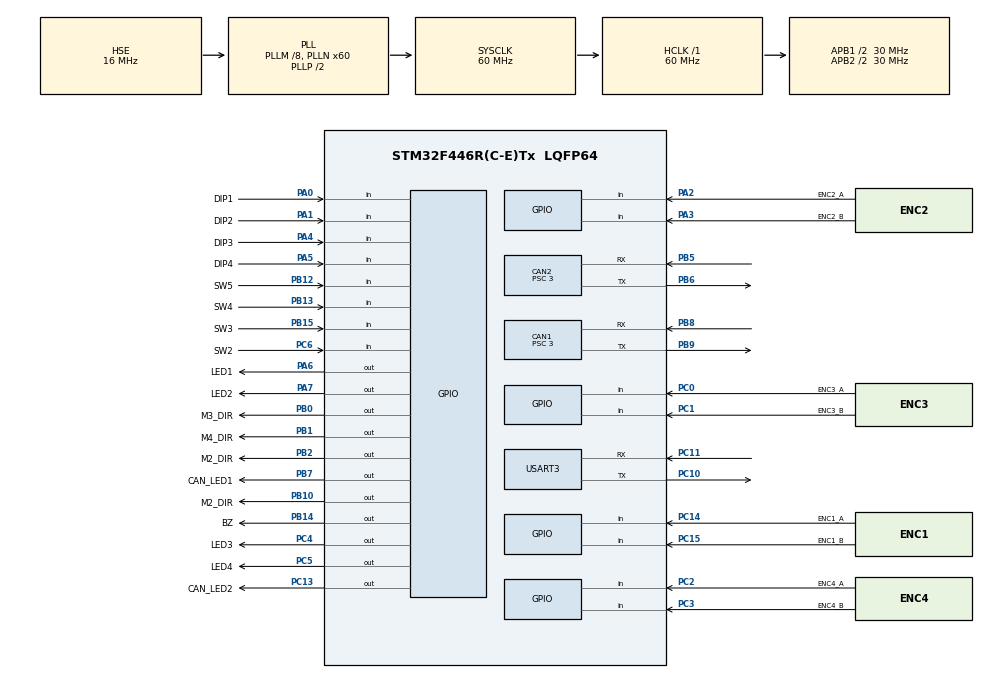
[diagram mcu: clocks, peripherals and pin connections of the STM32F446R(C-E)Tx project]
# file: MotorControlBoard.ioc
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CAN1.BS1=CAN_BS1_7TQ
CAN1.BS2=CAN_BS2_2TQ
CAN1.CalculateBaudRate=1000000
CAN1.CalculateTimeBit=1000
CAN1.CalculateTimeQuantum=100.0
CAN1.Prescaler=3
CAN2.BS1=CAN_BS1_7TQ
CAN2.BS2=CAN_BS2_2TQ
CAN2.CalculateBaudRate=1000000
CAN2.CalculateTimeBit=1000
CAN2.CalculateTimeQuantum=100.0
CAN2.Prescaler=3
Mcu.Family=STM32F4
Mcu.Name=STM32F446R(C-E)Tx
Mcu.Package=LQFP64
NVIC.CAN1_RX0_IRQn=true\:0\:0\:false\:false\:true\:true\:true\:true
NVIC.CAN1_RX1_IRQn=true\:0\:0\:false\:false\:true\:true\:true\:true
NVIC.CAN2_RX0_IRQn=true\:0\:0\:false\:false\:true\:true\:true\:true
NVIC.PriorityGroup=NVIC_PRIORITYGROUP_4
PA0-WKUP.GPIO_Label=DIP1
PA0-WKUP.GPIO_PuPd=GPIO_PULLDOWN
PA0-WKUP.Signal=GPIO_Input
PA1.GPIO_Label=DIP2
PA1.GPIO_PuPd=GPIO_PULLDOWN
PA1.Signal=GPIO_Input
PA10.GPIO_Label=M4_PWM
PA10.Signal=S_TIM1_CH3
PA2.GPIO_Label=ENC2_A
PA2.Signal=GPIO_Input
PA3.GPIO_Label=ENC2_B
PA3.Signal=GPIO_Input
PA4.GPIO_Label=DIP3
PA4.GPIO_PuPd=GPIO_PULLDOWN
PA4.Signal=GPIO_Input
PA5.GPIO_Label=DIP4
PA5.GPIO_PuPd=GPIO_PULLDOWN
PA5.Signal=GPIO_Input
PA6.GPIO_Label=LED1
PA6.Signal=GPIO_Output
PA7.GPIO_Label=LED2
PA7.Signal=GPIO_Output
PA8.Signal=I2C3_SCL
PA9.GPIO_Label=M3_PWM
PA9.Signal=S_TIM1_CH2
PB0.GPIO_Label=M3_DIR
PB0.Signal=GPIO_Output
PB1.GPIO_Label=M4_DIR
PB1.Signal=GPIO_Output
PB10.GPIO_Label=M2_DIR
PB10.Signal=GPIO_Output
PB12.GPIO_Label=SW5
PB12.Signal=GPIO_Input
PB13.GPIO_Label=SW4
PB13.Signal=GPIO_Input
PB14.GPIO_Label=BZ
PB14.Signal=GPIO_Output
PB15.GPIO_Label=SW3
PB15.Signal=GPIO_Input
PB2.GPIO_Label=M2_DIR
PB2.Signal=GPIO_Output
PB5.Mode=CAN_Activate
PB5.Signal=CAN2_RX
PB6.Mode=CAN_Activate
PB6.Signal=CAN2_TX
PB7.GPIO_Label=CAN_LED1
PB7.Signal=GPIO_Output
PB8.Mode=CAN_Activate
PB8.Signal=CAN1_RX
PB9.Mode=CAN_Activate
PB9.Signal=CAN1_TX
PC0.GPIO_Label=ENC3_A
PC0.Signal=GPIO_Input
PC1.GPIO_Label=ENC3_B
PC1.Signal=GPIO_Input
PC10.Mode=Asynchronous
PC10.Signal=USART3_TX
PC11.Mode=Asynchronous
PC11.Signal=USART3_RX
PC13.GPIO_Label=CAN_LED2
PC13.Signal=GPIO_Output
PC14-OSC32_IN.GPIO_Label=ENC1_A
PC14-OSC32_IN.Signal=GPIO_Input
PC15-OSC32_OUT.GPIO_Label=ENC1_B
PC15-OSC32_OUT.Signal=GPIO_Input
PC2.GPIO_Label=ENC4_A
PC2.Signal=GPIO_Input
PC3.GPIO_Label=ENC4_B
PC3.Signal=GPIO_Input
PC4.GPIO_Label=LED3
PC4.Signal=GPIO_Output
PC5.GPIO_Label=LED4
PC5.Signal=GPIO_Output
PC6.GPIO_Label=SW2
PC6.Signal=GPIO_Input
PC7.GPIO_Label=M1_PWM
PC7.Signal=S_TIM3_CH2
PC8.GPIO_Label=M2_PWM
PC8.Signal=S_TIM3_CH3
PC9.Signal=I2C3_SDA
PH0-OSC_IN.Mode=HSE-External-Oscillator
PH0-OSC_IN.Signal=RCC_OSC_IN
PH1-OSC_OUT.Mode=HSE-External-Oscillator
PH1-OSC_OUT.Signal=RCC_OSC_OUT
ProjectManager.HeapSize=0x200
ProjectManager.StackSize=0x400
ProjectManager.TargetToolchain=CMake
RCC.AHBFreq_Value=60000000
RCC.APB1CLKDivider=RCC_HCLK_DIV2
RCC.APB1Freq_Value=30000000
RCC.APB1TimFreq_Value=60000000
RCC.APB2CLKDivider=RCC_HCLK_DIV2
RCC.APB2Freq_Value=30000000
RCC.APB2TimFreq_Value=60000000
RCC.CortexFreq_Value=60000000
RCC.HCLKFreq_Value=60000000
RCC.HSE_VALUE=16000000
RCC.PLLM=8
RCC.PLLN=60
RCC.PLLSourceVirtual=RCC_PLLSOURCE_HSE
RCC.SYSCLKFreq_VALUE=60000000
RCC.SYSCLKSource=RCC_SYSCLKSOURCE_PLLCLK
RCC.USBFreq_Value=60000000
RCC.VCOOutputFreq_Value=120000000
SH.S_TIM1_CH2.0=TIM1_CH2
SH.S_TIM1_CH3.0=TIM1_CH3
SH.S_TIM3_CH2.0=TIM3_CH2
SH.S_TIM3_CH3.0=TIM3_CH3
USART3.VirtualMode=VM_ASYNC
board=custom

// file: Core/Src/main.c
/* USER CODE BEGIN Header */
/**
 ******************************************************************************
 * @file           : main.c
 * @brief          : Main program body
 ******************************************************************************
 * @attention
 *
 * Copyright (c) 2025 STMicroelectronics.
 * All rights reserved.
 *
 * This software is licensed under terms that can be found in the LICENSE file
 * in the root directory of this software component.
 * If no LICENSE file comes with this software, it is provided AS-IS.
 *
 ******************************************************************************
 */
/* USER CODE END Header */
#include "main.h"

/* USER CODE BEGIN Includes */
#include "stdio.h"
#include "stdlib.h"
#include "stdbool.h"
/* USER CODE END Includes */

CAN_HandleTypeDef hcan1;
CAN_HandleTypeDef hcan2;

UART_HandleTypeDef huart3;

/* USER CODE BEGIN PV */
CAN_TxHeaderTypeDef TxHeader_RM;
uint32_t TxMailbox_RM;
uint8_t TxData_RM[8] = {0, 0, 0, 0, 0, 0, 0, 0}; // CAN送信用データ

uint32_t id_ESP;
uint32_t dlc_ESP;
uint8_t data_ESP[8];
CAN_RxHeaderTypeDef RxHeader_ESP;
uint8_t RxData_ESP[8];

uint8_t btnState[14] = {0, 0, 0, 0, 0, 0, 0, 0, 0, 0, 0, 0, 0, 0}; // ボタンの状態を格納する配列
/* USER CODE END PV */

void SystemClock_Config(void);
static void MX_GPIO_Init(void);
static void MX_CAN1_Init(void);
static void MX_CAN2_Init(void);
static void MX_USART3_UART_Init(void);
/* USER CODE BEGIN PFP */
void sendMotorPower(int, int);
void print_CAN_data();
void allBtnState();
bool getBtnState(uint8_t);
/* USER CODE END PFP */

/* USER CODE BEGIN 0 */
int __io_putchar(int ch)
{ // printfを使えるようにする関数
  HAL_UART_Transmit(&huart3, (uint8_t *)&ch, 1, 100);
  return ch;
}
/* USER CODE END 0 */

int main(void)
{

  /* MCU Configuration--------------------------------------------------------*/

  /* Reset of all peripherals, Initializes the Flash interface and the Systick. */
  HAL_Init();

  /* Configure the system clock */
  SystemClock_Config();

  /* Initialize all configured peripherals */
  MX_GPIO_Init();
  MX_CAN1_Init();
  MX_CAN2_Init();
  MX_USART3_UART_Init();
  /* USER CODE BEGIN 2 */
  setbuf(stdout, NULL); // printfのバッファー

  HAL_CAN_Start(&hcan1);
  HAL_CAN_Start(&hcan2);
  HAL_CAN_ActivateNotification(&hcan1, CAN_IT_RX_FIFO1_MSG_PENDING);
  HAL_CAN_ActivateNotification(&hcan2, CAN_IT_RX_FIFO0_MSG_PENDING);

  // 起動サイン
  HAL_GPIO_WritePin(BZ_GPIO_Port, BZ_Pin, GPIO_PIN_SET);
  HAL_Delay(100);
  HAL_GPIO_WritePin(BZ_GPIO_Port, BZ_Pin, GPIO_PIN_RESET);
  printf("start\n\r"); //\n\r改行

  /* USER CODE END 2 */

  /* Infinite loop */
  while (1)
  {

    /* USER CODE BEGIN 3 */
    if (getBtnState(Button_UP))
    {
      // ボタンが押されている（Highレベル）
      HAL_GPIO_WritePin(LED1_GPIO_Port, LED1_Pin, GPIO_PIN_SET);
      sendMotorPower(MOTOR_A, 2000);
      sendMotorPower(MOTOR_B, -2000);
      sendMotorPower(MOTOR_C, 0);
    }
    else if (getBtnState(Button_Down))
    {
      HAL_GPIO_WritePin(LED2_GPIO_Port, LED2_Pin, GPIO_PIN_SET);
      sendMotorPower(MOTOR_A, -2000);
      sendMotorPower(MOTOR_B, 2000);
      sendMotorPower(MOTOR_C, 0);
    }
    else if (getBtnState(Button_Left))
    {
      HAL_GPIO_WritePin(LED3_GPIO_Port, LED3_Pin, GPIO_PIN_SET);
      sendMotorPower(MOTOR_A, 1000);
      sendMotorPower(MOTOR_B, 1000);
      sendMotorPower(MOTOR_C, -2000);
    }
    else if (getBtnState(Button_Right))
    {
      HAL_GPIO_WritePin(LED4_GPIO_Port, LED4_Pin, GPIO_PIN_SET);
      sendMotorPower(MOTOR_A, -1000);
      sendMotorPower(MOTOR_B, -1000);
      sendMotorPower(MOTOR_C, 2000);
    }
    else
    {
      HAL_GPIO_WritePin(LED1_GPIO_Port, LED1_Pin, GPIO_PIN_RESET);
      HAL_GPIO_WritePin(LED2_GPIO_Port, LED2_Pin, GPIO_PIN_RESET);
      HAL_GPIO_WritePin(LED3_GPIO_Port, LED3_Pin, GPIO_PIN_RESET);
      HAL_GPIO_WritePin(LED4_GPIO_Port, LED4_Pin, GPIO_PIN_RESET);
      sendMotorPower(MOTOR_A, 0);
      sendMotorPower(MOTOR_B, 0);
      sendMotorPower(MOTOR_C, 0);
      // printf("Motor OFF\n\r");
    }
    allBtnState(); // ボタンの状態を更新
    print_CAN_data();
    /*
    printf("0:%d 1:%d 2:%d 3:%d 4:%d 5:%d 6:%d 7:%d\n\r",
           data_ESP[0], data_ESP[1], data_ESP[2], data_ESP[3],
           data_ESP[4], data_ESP[5], data_ESP[6], data_ESP[7]);
    */
  }
  /* USER CODE END 3 */
}

void SystemClock_Config(void)
{
  RCC_OscInitTypeDef RCC_OscInitStruct = {0};
  RCC_ClkInitTypeDef RCC_ClkInitStruct = {0};

  /** Configure the main internal regulator output voltage
   */
  __HAL_RCC_PWR_CLK_ENABLE();
  __HAL_PWR_VOLTAGESCALING_CONFIG(PWR_REGULATOR_VOLTAGE_SCALE3);

  /** Initializes the RCC Oscillators according to the specified parameters
   * in the RCC_OscInitTypeDef structure.
   */
  RCC_OscInitStruct.OscillatorType = RCC_OSCILLATORTYPE_HSE;
  RCC_OscInitStruct.HSEState = RCC_HSE_ON;
  RCC_OscInitStruct.PLL.PLLState = RCC_PLL_ON;
  RCC_OscInitStruct.PLL.PLLSource = RCC_PLLSOURCE_HSE;
  RCC_OscInitStruct.PLL.PLLM = 8;
  RCC_OscInitStruct.PLL.PLLN = 60;
  RCC_OscInitStruct.PLL.PLLP = RCC_PLLP_DIV2;
  RCC_OscInitStruct.PLL.PLLQ = 2;
  RCC_OscInitStruct.PLL.PLLR = 2;
  if (HAL_RCC_OscConfig(&RCC_OscInitStruct) != HAL_OK)
  {
    Error_Handler();
  }

  /** Initializes the CPU, AHB and APB buses clocks
   */
  RCC_ClkInitStruct.ClockType = RCC_CLOCKTYPE_HCLK | RCC_CLOCKTYPE_SYSCLK | RCC_CLOCKTYPE_PCLK1 | RCC_CLOCKTYPE_PCLK2;
  RCC_ClkInitStruct.SYSCLKSource = RCC_SYSCLKSOURCE_PLLCLK;
  RCC_ClkInitStruct.AHBCLKDivider = RCC_SYSCLK_DIV1;
  RCC_ClkInitStruct.APB1CLKDivider = RCC_HCLK_DIV2;
  RCC_ClkInitStruct.APB2CLKDivider = RCC_HCLK_DIV2;

  if (HAL_RCC_ClockConfig(&RCC_ClkInitStruct, FLASH_LATENCY_1) != HAL_OK)
  {
    Error_Handler();
  }
}

static void MX_CAN1_Init(void)
{

  hcan1.Instance = CAN1;
  hcan1.Init.Prescaler = 3;
  hcan1.Init.Mode = CAN_MODE_NORMAL;
  hcan1.Init.SyncJumpWidth = CAN_SJW_1TQ;
  hcan1.Init.TimeSeg1 = CAN_BS1_7TQ;
  hcan1.Init.TimeSeg2 = CAN_BS2_2TQ;
  hcan1.Init.TimeTriggeredMode = DISABLE;
  hcan1.Init.AutoBusOff = DISABLE;
  hcan1.Init.AutoWakeUp = DISABLE;
  hcan1.Init.AutoRetransmission = DISABLE;
  hcan1.Init.ReceiveFifoLocked = DISABLE;
  hcan1.Init.TransmitFifoPriority = DISABLE;
  if (HAL_CAN_Init(&hcan1) != HAL_OK)
  {
    Error_Handler();
  }
  /* USER CODE BEGIN CAN1_Init 2 */
  CAN_FilterTypeDef CANfilter1;
  uint32_t fId11 = 0x201 << 5; // フィルターID1
  uint32_t fId12 = 0x202 << 5; // フィルターID2
  uint32_t fId13 = 0x203 << 5; // フィルターID3
  uint32_t fId14 = 0x204 << 5; // フィルターID4

  /*
  CANfilter1.FilterMode = CAN_FILTERMODE_IDMASK; // ← マスクモードに変更
  CANfilter1.FilterIdHigh = 0x0000;
  CANfilter1.FilterIdLow  = 0x0000;
  CANfilter1.FilterMaskIdHigh = 0x0000;
  CANfilter1.FilterMaskIdLow  = 0x0000;              // フィルターID4
  CANfilter1.FilterScale = CAN_FILTERSCALE_16BIT;     // 16モード
  CANfilter1.FilterFIFOAssignment = CAN_FILTER_FIFO0; // FIFO0へ格納
  CANfilter1.FilterBank = 0;
  CANfilter1.FilterMode = CAN_FILTERMODE_IDLIST; // IDリストモード
  CANfilter1.SlaveStartFilterBank = 14;
  CANfilter1.FilterActivation = ENABLE;
  */

  CANfilter1.FilterBank = 0;                      // フィルターバンク番号
  CANfilter1.FilterMode = CAN_FILTERMODE_IDMASK;  // マスクモード（IDの一部を無視できる）
  CANfilter1.FilterScale = CAN_FILTERSCALE_32BIT; // 32ビットスケーリング
  CANfilter1.FilterIdHigh = 0x0000;               // 受け入れるID → 無視（全て通す）
  CANfilter1.FilterIdLow = 0x0000;
  CANfilter1.FilterMaskIdHigh = 0x0000; // マスク全ビット0で全て受信
  CANfilter1.FilterMaskIdLow = 0x0000;
  CANfilter1.FilterFIFOAssignment = CAN_FILTER_FIFO1; // FIFO1に割り当て
  CANfilter1.FilterActivation = ENABLE;
  CANfilter1.SlaveStartFilterBank = 14; // CAN2との共用境界（必要なら）

  HAL_CAN_ConfigFilter(&hcan1, &CANfilter1);
  /* USER CODE END CAN1_Init 2 */
}

static void MX_CAN2_Init(void)
{

  hcan2.Instance = CAN2;
  hcan2.Init.Prescaler = 3;
  hcan2.Init.Mode = CAN_MODE_NORMAL;
  hcan2.Init.SyncJumpWidth = CAN_SJW_1TQ;
  hcan2.Init.TimeSeg1 = CAN_BS1_7TQ;
  hcan2.Init.TimeSeg2 = CAN_BS2_2TQ;
  hcan2.Init.TimeTriggeredMode = DISABLE;
  hcan2.Init.AutoBusOff = DISABLE;
  hcan2.Init.AutoWakeUp = DISABLE;
  hcan2.Init.AutoRetransmission = DISABLE;
  hcan2.Init.ReceiveFifoLocked = DISABLE;
  hcan2.Init.TransmitFifoPriority = DISABLE;
  if (HAL_CAN_Init(&hcan2) != HAL_OK)
  {
    Error_Handler();
  }
  /* USER CODE BEGIN CAN2_Init 2 */
  CAN_FilterTypeDef CANfilter2;
  uint32_t fId21 = 0x201 << 5; // フィルターID1
  uint32_t fId22 = 0x202 << 5; // フィルターID2
  uint32_t fId23 = 0x203 << 5; // フィルターID3
  uint32_t fId24 = 0x204 << 5; // フィルターID4

  CANfilter2.FilterIdHigh = fId21;     // フィルターID1
  CANfilter2.FilterIdLow = fId22;      // フィルターID2
  CANfilter2.FilterMaskIdHigh = fId23; // フィルターID3
  CANfilter2.FilterMaskIdLow = fId24;
  CANfilter2.FilterScale = CAN_FILTERSCALE_16BIT;     // 16モード
  CANfilter2.FilterFIFOAssignment = CAN_FILTER_FIFO0; // FIFO0へ格納
  CANfilter2.FilterBank = 14;
  CANfilter2.FilterMode = CAN_FILTERMODE_IDLIST; // IDリストモード
  CANfilter2.SlaveStartFilterBank = 14;
  CANfilter2.FilterActivation = ENABLE;

  HAL_CAN_ConfigFilter(&hcan2, &CANfilter2);
  /* USER CODE END CAN2_Init 2 */
}

static void MX_USART3_UART_Init(void)
{

  huart3.Instance = USART3;
  huart3.Init.BaudRate = 115200;
  huart3.Init.WordLength = UART_WORDLENGTH_8B;
  huart3.Init.StopBits = UART_STOPBITS_1;
  huart3.Init.Parity = UART_PARITY_NONE;
  huart3.Init.Mode = UART_MODE_TX_RX;
  huart3.Init.HwFlowCtl = UART_HWCONTROL_NONE;
  huart3.Init.OverSampling = UART_OVERSAMPLING_16;
  if (HAL_UART_Init(&huart3) != HAL_OK)
  {
    Error_Handler();
  }
}

static void MX_GPIO_Init(void)
{
  GPIO_InitTypeDef GPIO_InitStruct = {0};

  /* GPIO Ports Clock Enable */
  __HAL_RCC_GPIOC_CLK_ENABLE();
  __HAL_RCC_GPIOH_CLK_ENABLE();
  __HAL_RCC_GPIOA_CLK_ENABLE();
  __HAL_RCC_GPIOB_CLK_ENABLE();

  /*Configure GPIO pin Output Level */
  HAL_GPIO_WritePin(GPIOC, CAN_LED2_Pin | LED3_Pin | LED4_Pin, GPIO_PIN_RESET);

  /*Configure GPIO pin Output Level */
  HAL_GPIO_WritePin(GPIOA, LED1_Pin | LED2_Pin, GPIO_PIN_RESET);

  /*Configure GPIO pin Output Level */
  HAL_GPIO_WritePin(GPIOB, M3_DIR_Pin | M4_DIR_Pin | M2_DIR_Pin | M2_DIRB10_Pin | BZ_Pin | CAN_LED1_Pin, GPIO_PIN_RESET);

  /*Configure GPIO pins : CAN_LED2_Pin LED3_Pin LED4_Pin */
  GPIO_InitStruct.Pin = CAN_LED2_Pin | LED3_Pin | LED4_Pin;
  GPIO_InitStruct.Mode = GPIO_MODE_OUTPUT_PP;
  GPIO_InitStruct.Pull = GPIO_NOPULL;
  GPIO_InitStruct.Speed = GPIO_SPEED_FREQ_LOW;
  HAL_GPIO_Init(GPIOC, &GPIO_InitStruct);

  /*Configure GPIO pins : ENC1_A_Pin ENC1_B_Pin ENC3_A_Pin ENC3_B_Pin
                           ENC4_A_Pin ENC4_B_Pin SW2_Pin */
  GPIO_InitStruct.Pin = ENC1_A_Pin | ENC1_B_Pin | ENC3_A_Pin | ENC3_B_Pin | ENC4_A_Pin | ENC4_B_Pin | SW2_Pin;
  GPIO_InitStruct.Mode = GPIO_MODE_INPUT;
  GPIO_InitStruct.Pull = GPIO_NOPULL;
  HAL_GPIO_Init(GPIOC, &GPIO_InitStruct);

  /*Configure GPIO pins : DIP1_Pin DIP2_Pin DIP3_Pin DIP4_Pin */
  GPIO_InitStruct.Pin = DIP1_Pin | DIP2_Pin | DIP3_Pin | DIP4_Pin;
  GPIO_InitStruct.Mode = GPIO_MODE_INPUT;
  GPIO_InitStruct.Pull = GPIO_PULLDOWN;
  HAL_GPIO_Init(GPIOA, &GPIO_InitStruct);

  /*Configure GPIO pins : ENC2_A_Pin ENC2_B_Pin */
  GPIO_InitStruct.Pin = ENC2_A_Pin | ENC2_B_Pin;
  GPIO_InitStruct.Mode = GPIO_MODE_INPUT;
  GPIO_InitStruct.Pull = GPIO_NOPULL;
  HAL_GPIO_Init(GPIOA, &GPIO_InitStruct);

  /*Configure GPIO pins : LED1_Pin LED2_Pin */
  GPIO_InitStruct.Pin = LED1_Pin | LED2_Pin;
  GPIO_InitStruct.Mode = GPIO_MODE_OUTPUT_PP;
  GPIO_InitStruct.Pull = GPIO_NOPULL;
  GPIO_InitStruct.Speed = GPIO_SPEED_FREQ_LOW;
  HAL_GPIO_Init(GPIOA, &GPIO_InitStruct);

  /*Configure GPIO pins : M3_DIR_Pin M4_DIR_Pin M2_DIR_Pin M2_DIRB10_Pin
                           BZ_Pin CAN_LED1_Pin */
  GPIO_InitStruct.Pin = M3_DIR_Pin | M4_DIR_Pin | M2_DIR_Pin | M2_DIRB10_Pin | BZ_Pin | CAN_LED1_Pin;
  GPIO_InitStruct.Mode = GPIO_MODE_OUTPUT_PP;
  GPIO_InitStruct.Pull = GPIO_NOPULL;
  GPIO_InitStruct.Speed = GPIO_SPEED_FREQ_LOW;
  HAL_GPIO_Init(GPIOB, &GPIO_InitStruct);

  /*Configure GPIO pins : SW5_Pin SW4_Pin SW3_Pin */
  GPIO_InitStruct.Pin = SW5_Pin | SW4_Pin | SW3_Pin;
  GPIO_InitStruct.Mode = GPIO_MODE_INPUT;
  GPIO_InitStruct.Pull = GPIO_NOPULL;
  HAL_GPIO_Init(GPIOB, &GPIO_InitStruct);

  /*Configure GPIO pins : M1_PWM_Pin M2_PWM_Pin */
  GPIO_InitStruct.Pin = M1_PWM_Pin | M2_PWM_Pin;
  GPIO_InitStruct.Mode = GPIO_MODE_AF_PP;
  GPIO_InitStruct.Pull = GPIO_NOPULL;
  GPIO_InitStruct.Speed = GPIO_SPEED_FREQ_LOW;
  GPIO_InitStruct.Alternate = GPIO_AF2_TIM3;
  HAL_GPIO_Init(GPIOC, &GPIO_InitStruct);

  /*Configure GPIO pin : PC9 */
  GPIO_InitStruct.Pin = GPIO_PIN_9;
  GPIO_InitStruct.Mode = GPIO_MODE_AF_OD;
  GPIO_InitStruct.Pull = GPIO_NOPULL;
  GPIO_InitStruct.Speed = GPIO_SPEED_FREQ_VERY_HIGH;
  GPIO_InitStruct.Alternate = GPIO_AF4_I2C3;
  HAL_GPIO_Init(GPIOC, &GPIO_InitStruct);

  /*Configure GPIO pin : PA8 */
  GPIO_InitStruct.Pin = GPIO_PIN_8;
  GPIO_InitStruct.Mode = GPIO_MODE_AF_OD;
  GPIO_InitStruct.Pull = GPIO_NOPULL;
  GPIO_InitStruct.Speed = GPIO_SPEED_FREQ_VERY_HIGH;
  GPIO_InitStruct.Alternate = GPIO_AF4_I2C3;
  HAL_GPIO_Init(GPIOA, &GPIO_InitStruct);

  /*Configure GPIO pins : M3_PWM_Pin M4_PWM_Pin */
  GPIO_InitStruct.Pin = M3_PWM_Pin | M4_PWM_Pin;
  GPIO_InitStruct.Mode = GPIO_MODE_AF_PP;
  GPIO_InitStruct.Pull = GPIO_NOPULL;
  GPIO_InitStruct.Speed = GPIO_SPEED_FREQ_LOW;
  GPIO_InitStruct.Alternate = GPIO_AF1_TIM1;
  HAL_GPIO_Init(GPIOA, &GPIO_InitStruct);

}

/* USER CODE BEGIN 4 */
uint32_t id;
uint32_t dlc;
uint8_t data[8];
CAN_RxHeaderTypeDef RxHeader;
uint8_t RxData[8];
uint32_t CAN_Rx_timer[3] = {0, 0, 0};          // CAN受信タイマー
uint16_t CAN_ID_Rx[3] = {0x201, 0x202, 0x203}; // CAN受信ID
uint16_t CAN_Rx_Counter[3] = {0, 0, 0};        // CAN受信カウンター
uint8_t CAN_Rx_Motor_Read = 0;                 // CAN受信モーターデータ読み込みフラグ

void HAL_CAN_RxFifo0MsgPendingCallback(CAN_HandleTypeDef *hcan)
{
  if (HAL_CAN_GetRxMessage(hcan, CAN_RX_FIFO0, &RxHeader, RxData) == HAL_OK)
  {
    id = (RxHeader.IDE == CAN_ID_STD) ? RxHeader.StdId : RxHeader.ExtId; // ID
    dlc = RxHeader.DLC;                                                  // DLC
    for (int i = 0; i < 8; i++)
    {
      data[i] = RxData[i]; // データを配列に格納
    }
  }
}

void print_CAN_data()
{
  for (int i = 0; i < 3; i++)
  {
    if (id == CAN_ID_Rx[i])
    {
      CAN_Rx_timer[i] = HAL_GetTick(); // タイマーリセット
      // HAL_GPIO_WritePin(LED2_GPIO_Port, LED2_Pin, GPIO_PIN_SET); LED2を点灯

      int16_t _angle = (data[0] << 8) | data[1];
      int16_t _speed = (data[2] << 8) | data[3];
      int16_t _torque = (data[4] << 8) | data[5];
      CAN_Rx_Counter[i]++;
      if (CAN_Rx_Motor_Read == 1)
        printf("%d, Angle:%d, speed:%d, torque:%d\n\r", i, _angle, _speed, _torque);
    }
  }
  // HAL_GPIO_WritePin(LED2_GPIO_Port, LED2_Pin, GPIO_PIN_RESET); LED2を消灯
}

void HAL_CAN_RxFifo1MsgPendingCallback(CAN_HandleTypeDef *hcan)
{
  if (HAL_CAN_GetRxMessage(hcan, CAN_RX_FIFO1, &RxHeader_ESP, RxData_ESP) == HAL_OK)
  {
    // id_ESP = (RxHeader_ESP.IDE == CAN_ID_STD) ? RxHeader_ESP.StdId : RxHeader_ESP.ExtId;
    // dlc_ESP = RxHeader_ESP.DLC;
    for (int i = 0; i < 8; i++)
    {
      data_ESP[i] = RxData_ESP[i]; // データを配列に格納
    }

    printf("CAN1 FIFO1: ID=0x%03X, DLC=%d, Data= %d %d %d %d %d %d %d %d\n\r",
           RxHeader_ESP.StdId, RxHeader_ESP.DLC,
           data_ESP[0], data_ESP[1], data_ESP[2], data_ESP[3],
           data_ESP[4], data_ESP[5], data_ESP[6], data_ESP[7]);
  }
}

uint32_t CAN_timer = 0; // CAN受信タイマー
char btnName[14] = {'U', 'D', 'L', 'R', 'A', 'B', 'X', 'Y',
                    'L', 'R', '3', '4', '5', '6'}; // ボタンの名前

void allBtnState()
{
  for (int i = 0; i <= 7; i++)
  {
    btnState[i] = ((data_ESP[1] >> i) & 1); // 初期化
  }
  for (int i = 0; i <= 5; i++)
  {
    btnState[8+i] = ((data_ESP[2] >> i) & 1); // 初期化
  }
  if ((HAL_GetTick() - CAN_timer) > 50)
  {
    CAN_timer = HAL_GetTick(); // タイマーリセット

    for (int i = 0; i < 14; i++)
    {
      //printf("%c:%d ", btnName[i], btnState[i]);
    }
    //printf("\n\r");
  }
}

bool getBtnState(uint8_t  _btn)
{
  if(_btn >= 14)
  {
    return false; // 無効なボタン番号
  }
  else
  {
    return btnState[_btn]; // ボタンの状態を返す
  }
}

void sendMotorPower(int _id, int _mA)
{
  // 送信メールボックスに空きがあったら送信開始
  if (0 < HAL_CAN_GetTxMailboxesFreeLevel(&hcan2))
  {
    // 送信用インスタンスの設定
    TxHeader_RM.StdId = 0x200; // 受取手のCANのID
    TxHeader_RM.RTR = CAN_RTR_DATA;
    TxHeader_RM.IDE = CAN_ID_STD;
    TxHeader_RM.DLC = 8; // データ長を8byteに設定
    TxHeader_RM.TransmitGlobalTime = DISABLE;

    if (_mA > 20000)
      _mA = 20000; // 最大値を20000mAに制限
    if (_mA < -20000)
      _mA = -20000; // 最小値を-20000mAに制限
    // 送信データの設定
    _mA = (int)(((double)_mA / 20000.0) * 16384.0); // 送信値を-16384から16384の範囲に変換
    TxData_RM[_id * 2] = (_mA >> 8) & 0xFF;
    TxData_RM[_id * 2 + 1] = _mA & 0xFF;

    // printf("%d send \n\r", HAL_CAN_GetTxMailboxesFreeLevel(&hcan2));
    if (HAL_CAN_AddTxMessage(&hcan2, &TxHeader_RM, TxData_RM, &TxMailbox_RM) != HAL_OK)
    {
      HAL_GPIO_WritePin(LED2_GPIO_Port, LED2_Pin, 1);
      Error_Handler();
    }
  }
}
/* USER CODE END 4 */

void Error_Handler(void)
{
  /* USER CODE BEGIN Error_Handler_Debug */
  /* User can add his own implementation to report the HAL error return state */
  __disable_irq();
  while (1)
  {
    HAL_GPIO_WritePin(BZ_GPIO_Port, BZ_Pin, GPIO_PIN_SET);
    HAL_Delay(200);
    HAL_GPIO_WritePin(BZ_GPIO_Port, BZ_Pin, GPIO_PIN_RESET);
    HAL_Delay(200);
  }
  /* USER CODE END Error_Handler_Debug */
}
